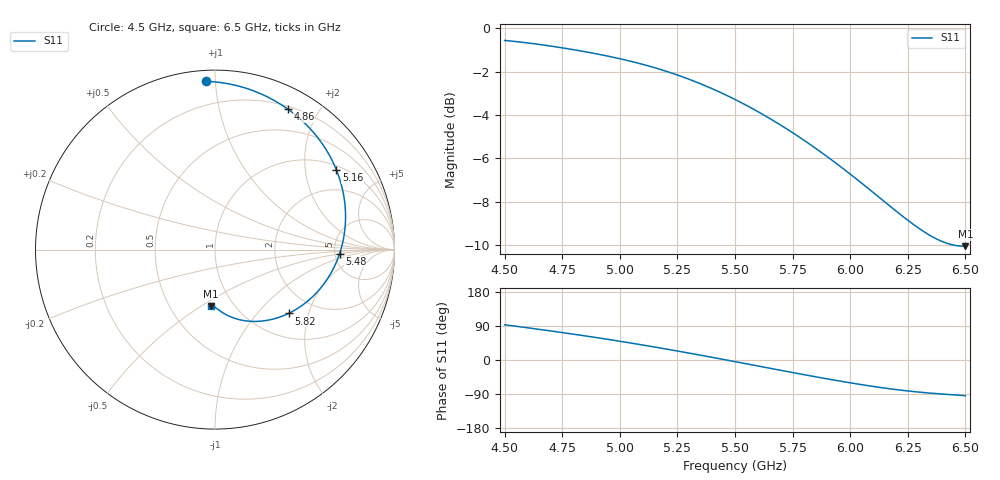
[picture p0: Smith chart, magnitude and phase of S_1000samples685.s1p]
! TOUCHSTONE file generated by CST MICROWAVE STUDIO
! Date and time: Sat Oct 29 00:50:09 2022
! Project name: L.cst
! Parameters = {Di=1.27; Epsilon_r=1.56; InnerDiameter=1.27; Length=2; Lf=10; Lg=60; OuterConductorThickness=0.2921; OuterDiameter=3.6; Wf=3; Wp=41.2; de=1.5; df=6.8; g=0.8; gx=2.29018; gy=4.67194; h=2.34; hf=1.524; px=12.4724; py=9.29666; w=9.7; wx=10.1822; wy=4.62472}
! Header version: 2018
! Port assignment regex: !\s*Touchstone port\s*([0-9]+)\s*=\s*(CST MWS port|CST DS port)\s*([0-9]+|Zmin|Zmax)\s*\(\"(.*)\"\)(\s*mode\s*([0-9]+))?.*
! Touchstone port assignment:
! Touchstone port 1 = CST MWS port 1 ("")
# GHz S DB R 50
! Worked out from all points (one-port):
!   101 points, 4.5 GHz to 6.5 GHz, reference 50 ohm
!   lowest |S11| = -10.1 dB at 6.5 GHz (marker M1), VSWR 1.92, Z = 39.4 - j27.4 ohm
!   |S11| at or under -10 dB: 6.449 GHz to end of sweep
!   S11 on the Smith chart (normalised r, x): 4.5 GHz: 0.06, +0.95; 4.86 GHz: 0.23, +1.62; 5.16 GHz: 1.14, +2.94; 5.48 GHz: 5.49, -0.52; 5.82 GHz: 1.49, -1.50; 6.5 GHz: 0.79, -0.55
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4.5  -0.55 93.0
4.56  -0.62 88.2
4.62  -0.69 83.3
4.68  -0.78 78.4
4.76  -0.91 71.5
4.86  -1.09 62.7
4.92  -1.22 57.1
5  -1.40 49.5
5.08  -1.60 41.6
5.16  -1.84 33.3
5.26  -2.19 22.6
5.32  -2.42 16.1
5.36  -2.60 11.6
5.42  -2.87 4.8
5.48  -3.17 -2.0
5.5  -3.28 -4.3
5.56  -3.61 -11.2
5.64  -4.09 -20.4
5.7  -4.47 -27.4
5.76  -4.88 -34.2
5.82  -5.31 -41.0
5.9  -5.92 -49.7
6  -6.72 -60.2
6.08  -7.40 -67.9
6.14  -7.92 -73.3
6.26  -8.93 -82.3
6.4  -9.84 -89.9
6.5  -10.05 -94.2
